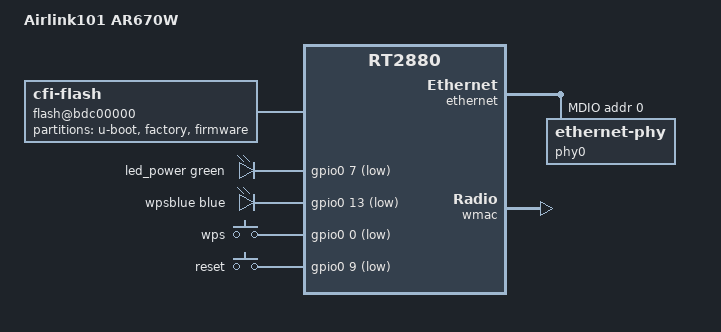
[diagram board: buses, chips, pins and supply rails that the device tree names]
#include "rt2880.dtsi"

#include <dt-bindings/gpio/gpio.h>
#include <dt-bindings/input/input.h>
#include <dt-bindings/leds/common.h>

/ {
	compatible = "airlink101,ar670w", "ralink,rt2880-soc";
	model = "Airlink101 AR670W";

	aliases {
		led-boot = &led_power;
		led-failsafe = &led_power;
		led-running = &led_power;
		led-upgrade = &led_power;
	};

	flash@bdc00000 {
		compatible = "cfi-flash";
		reg = <0xbc400000 0x800000>;
		bank-width = <2>;

		partitions {
			compatible = "fixed-partitions";
			#address-cells = <1>;
			#size-cells = <1>;

			partition@0 {
				reg = <0x0 0x30000>;
				label = "u-boot";
				read-only;
			};

			partition@30000 {
				reg = <0x30000 0x10000>;
				label = "factory";
				read-only;

				nvmem-layout {
					compatible = "fixed-layout";
					#address-cells = <1>;
					#size-cells = <1>;

					eeprom_factory_2000: eeprom@2000 {
						reg = <0x2000 0x200>;
					};

					macaddr_factory_2004: macaddr@2004 {
						reg = <0x2004 0x6>;
					};
				};
			};

			partition@40000 {
				compatible = "lzma";
				reg = <0x40000 0x3c0000>;
				label = "firmware";
			};
		};
	};

	leds {
		compatible = "gpio-leds";

		led_power: power {
			function = LED_FUNCTION_POWER;
			color = <LED_COLOR_ID_GREEN>;
			gpios = <&gpio0 7 GPIO_ACTIVE_LOW>;
		};

		wpsblue {
			function = LED_FUNCTION_WPS;
			color = <LED_COLOR_ID_BLUE>;
			gpios = <&gpio0 13 GPIO_ACTIVE_LOW>;
		};
	};

	keys {
		compatible = "gpio-keys-polled";
		poll-interval = <100>;

		wps {
			label = "wps";
			gpios = <&gpio0 0 GPIO_ACTIVE_LOW>;
			linux,code = <KEY_WPS_BUTTON>;
		};

		reset {
			label = "reset";
			gpios = <&gpio0 9 GPIO_ACTIVE_LOW>;
			linux,code = <KEY_RESTART>;
		};
	};
};

&state_default {
	gpio {
		groups = "i2c", "spi", "uartlite";
		function = "gpio";
	};
};

&ethernet {
	status = "okay";
	nvmem-cells = <&macaddr_factory_2004>;
	nvmem-cell-names = "mac-address";

	port@0 {
		phy-handle = <&phy0>;
		phy-mode = "mii";
	};

	mdio-bus {
		status = "okay";

		phy0: ethernet-phy@0 {
			phy-mode = "mii";
			reg = <0>;
		};
	};
};

&wmac {
	nvmem-cells = <&eeprom_factory_2000>;
	nvmem-cell-names = "eeprom";
};
